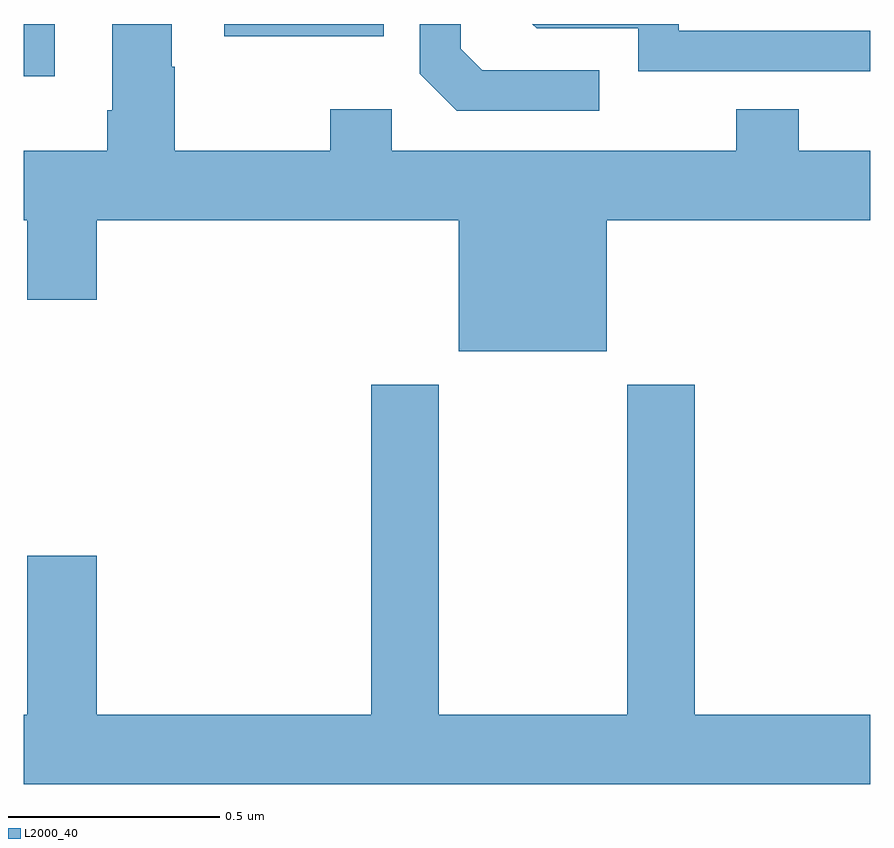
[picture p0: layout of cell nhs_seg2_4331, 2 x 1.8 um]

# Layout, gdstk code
import gdstk
lib = gdstk.Library(unit=1e-6, precision=1e-09)
def R(c, l, rs):  # rectangles x0, y0, x1, y1
    for r in rs: c.add(gdstk.rectangle(r[:2], r[2:], *l))
def P(c, l, *ps):  # polygons
    for p in ps: c.add(gdstk.Polygon(p, *l))
L2000_40 = (2000, 40)

nhs_seg2_4331 = lib.new_cell('nhs_seg2_4331')
R(nhs_seg2_4331, L2000_40, [(165,614.676,165.073,614.8), (165.474,614.771,165.851,614.8)])
P(nhs_seg2_4331, L2000_40, [(166.378,614.336),(167,614.336),(167,614.5),(166.831,614.5),(166.831,614.599),(166.684,614.599),(166.684,614.5),(165.87,614.5),(165.87,614.599),(165.724,614.599),(165.724,614.5),(165.357,614.5),(165.357,614.699),(165.349,614.699),(165.349,614.8),(165.209,614.8),(165.209,614.596),(165.197,614.596),(165.197,614.5),(165,614.5),(165,614.336),(165.008,614.336),(165.008,614.148),(165.172,614.148),(165.172,614.336),(166.028,614.336),(166.028,614.027),(166.378,614.027)],
  [(166.36,614.691),(166.083,614.691),(166.032,614.742),(166.032,614.8),(165.936,614.8),(165.936,614.682),(166.023,614.595),(166.36,614.595)],
  [(167,614.784),(166.548,614.784),(166.548,614.8),(166.202,614.8),(166.212,614.79),(166.452,614.79),(166.452,614.688),(167,614.688)],
  [(167,613.168),(166.586,613.168),(166.586,613.948),(166.426,613.948),(166.426,613.168),(165.981,613.168),(165.981,613.948),(165.821,613.948),(165.821,613.168),(165.172,613.168),(165.172,613.543),(165.008,613.543),(165.008,613.168),(165,613.168),(165,613.004),(167,613.004)])

lib.write_gds('nhs_seg2_4331.gds')
